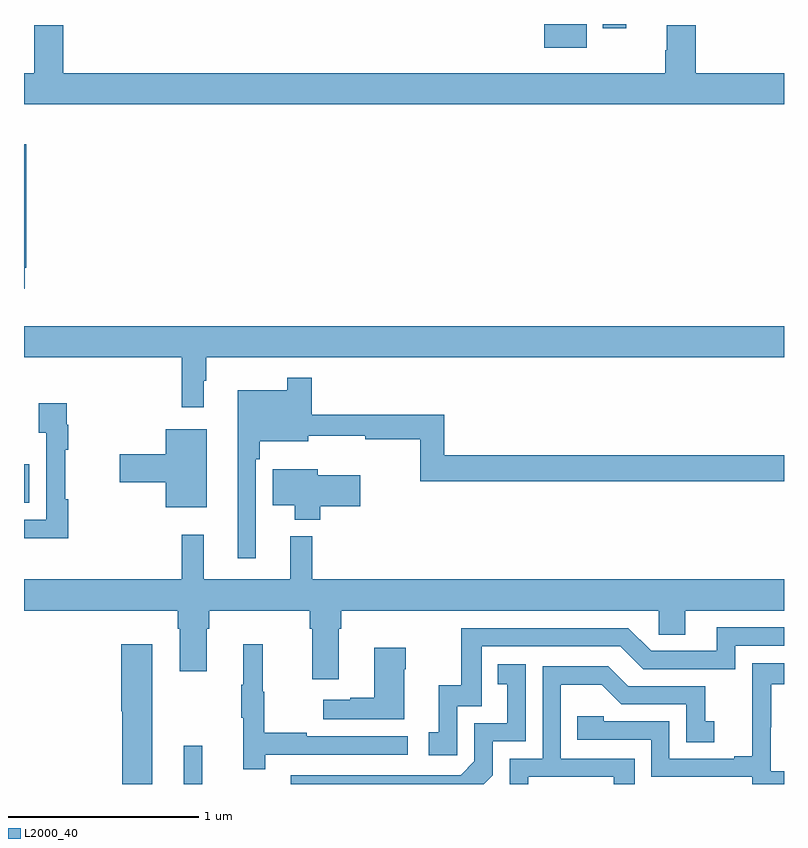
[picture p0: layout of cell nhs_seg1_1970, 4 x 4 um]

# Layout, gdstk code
import gdstk
lib = gdstk.Library(unit=1e-6, precision=1e-09)
def R(c, l, rs):  # rectangles x0, y0, x1, y1
    for r in rs: c.add(gdstk.rectangle(r[:2], r[2:], *l))
def P(c, l, *ps):  # polygons
    for p in ps: c.add(gdstk.Polygon(p, *l))
L2000_40 = (2000, 40)

nhs_seg1_1970 = lib.new_cell('nhs_seg1_1970')
R(nhs_seg1_1970, L2000_40, [(219.842,504.199,219.939,504.4), (219,505.679,219.028,505.882), (221.738,508.073,221.962,508.199), (222.047,508.176,222.169,508.199)])
P(nhs_seg1_1970, L2000_40, [(223,507.94),(222.536,507.94),(222.536,508.192),(222.383,508.192),(222.383,508.061),(222.376,508.061),(222.376,507.94),(219.206,507.94),(219.206,508.192),(219.053,508.192),(219.053,507.94),(219,507.94),(219,507.776),(223,507.776)],
  [(219.004,506.917),(219.011,506.917),(219.011,507.567),(219,507.567),(219,506.805),(219.004,506.805)],
  [(219.946,506.321),(219.958,506.321),(219.958,506.444),(223,506.444),(223,506.608),(219,506.608),(219,506.444),(219.829,506.444),(219.829,506.181),(219.946,506.181)],
  [(220.221,505.907),(220.241,505.907),(220.241,506.003),(220.495,506.003),(220.495,506.033),(220.796,506.033),(220.796,506.014),(221.085,506.014),(221.085,505.792),(223,505.792),(223,505.928),(221.213,505.928),(221.213,506.143),(220.514,506.143),(220.514,506.338),(220.386,506.338),(220.386,506.272),(220.124,506.272),(220.124,505.386),(220.221,505.386)],
  [(219.233,505.697),(219.218,505.697),(219.218,505.958),(219.233,505.958),(219.233,506.09),(219.226,506.09),(219.226,506.203),(219.077,506.203),(219.077,506.047),(219.117,506.047),(219.117,505.59),(219,505.59),(219,505.493),(219.233,505.493)],
  [(219.961,506.065),(219.746,506.065),(219.746,505.934),(219.504,505.934),(219.504,505.787),(219.746,505.787),(219.746,505.655),(219.961,505.655)],
  [(220.559,505.66),(220.771,505.66),(220.771,505.825),(220.546,505.825),(220.546,505.855),(220.31,505.855),(220.31,505.667),(220.424,505.667),(220.424,505.589),(220.559,505.589)],
  [(220.517,505.504),(220.4,505.504),(220.4,505.276),(219.947,505.276),(219.947,505.51),(219.829,505.51),(219.829,505.276),(219,505.276),(219,505.112),(219.809,505.112),(219.809,505.016),(219.821,505.016),(219.821,504.792),(219.961,504.792),(219.961,505.016),(219.974,505.016),(219.974,505.112),(220.505,505.112),(220.505,505.016),(220.517,505.016),(220.517,504.75),(220.657,504.75),(220.657,505.016),(220.67,505.016),(220.67,505.112),(222.342,505.112),(222.342,504.985),(222.481,504.985),(222.481,505.112),(223,505.112),(223,505.276),(220.517,505.276)],
  [(221.28,504.609),(221.409,504.609),(221.409,504.924),(222.138,504.924),(222.258,504.804),(222.744,504.804),(222.744,504.927),(223,504.927),(223,505.023),(222.647,505.023),(222.647,504.9),(222.3,504.9),(222.18,505.02),(221.301,505.02),(221.301,504.718),(221.183,504.718),(221.183,504.471),(221.13,504.471),(221.13,504.351),(221.28,504.351)],
  [(219.676,504.934),(219.512,504.934),(219.512,504.582),(219.518,504.582),(219.518,504.199),(219.676,504.199)],
  [(220.271,504.354),(221.02,504.354),(221.02,504.45),(220.487,504.45),(220.487,504.47),(220.264,504.47),(220.264,504.684),(220.256,504.684),(220.256,504.934),(220.154,504.934),(220.154,504.721),(220.143,504.721),(220.143,504.547),(220.154,504.547),(220.154,504.276),(220.271,504.276)],
  [(221.002,504.803),(221.01,504.803),(221.01,504.916),(220.844,504.916),(220.844,504.653),(220.718,504.653),(220.718,504.643),(220.575,504.643),(220.575,504.539),(221.002,504.539)],
  [(223,504.267),(222.93,504.267),(222.93,504.497),(222.932,504.497),(222.932,504.725),(223,504.725),(223,504.835),(222.832,504.835),(222.832,504.629),(222.833,504.629),(222.833,504.346),(222.737,504.346),(222.737,504.333),(222.396,504.333),(222.396,504.528),(222.051,504.528),(222.051,504.555),(221.911,504.555),(221.911,504.432),(222.3,504.432),(222.3,504.237),(222.834,504.237),(222.834,504.199),(223,504.199)],
  [(221.466,504.246),(221.466,504.423),(221.64,504.423),(221.64,504.829),(221.494,504.829),(221.494,504.723),(221.543,504.723),(221.543,504.519),(221.37,504.519),(221.37,504.318),(221.298,504.246),(220.404,504.246),(220.404,504.199),(221.419,504.199)],
  [(221.653,504.237),(222.104,504.237),(222.104,504.199),(222.215,504.199),(222.215,504.333),(221.826,504.333),(221.826,504.722),(222.04,504.722),(222.144,504.618),(222.486,504.618),(222.486,504.42),(222.634,504.42),(222.634,504.529),(222.585,504.529),(222.585,504.714),(222.181,504.714),(222.076,504.819),(221.73,504.819),(221.73,504.333),(221.556,504.333),(221.556,504.199),(221.653,504.199)])

lib.write_gds('nhs_seg1_1970.gds')
